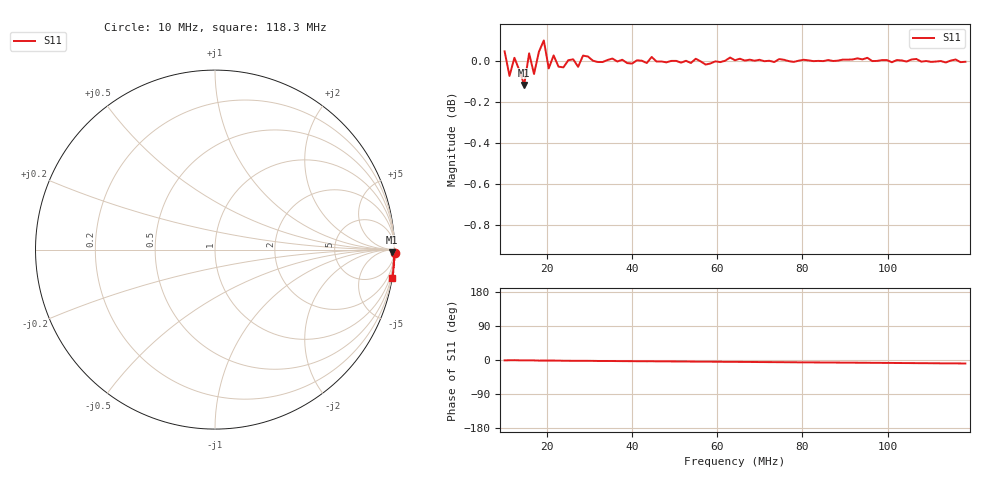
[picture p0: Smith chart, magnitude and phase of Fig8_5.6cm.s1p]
#  HZ  S  DB  R  50.00
! Rohde & Schwarz ZVB20 4Ports - Version 3.90 - 1145.1010k22 SN: 100142
! Date: 2023-02-16 15:49:24
! Measurement: S11
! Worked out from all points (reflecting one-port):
!   95 points, 10 MHz to 118.3 MHz, reference 50 ohm
!   lowest |S11| = -0.1 dB at 14.61 MHz (marker M1), VSWR 147.07, Z = 3e+03 - j3.61e+03 ohm
!   phase of S11 starts at -1 deg and turns -8 deg over the sweep
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1e7  0.04 -1.0
1.115214e7  -0.07 -0.6
1.230429e7  0.01 -0.6
1.345643e7  -0.05 -0.9
1.460858e7  -0.12 -0.9
1.576072e7  0.04 -1.0
1.691287e7  -0.07 -1.1
1.806501e7  0.04 -1.6
1.921716e7  0.10 -1.5
2.03693e7  -0.04 -1.5
2.152145e7  0.02 -1.5
2.267359e7  -0.03 -1.7
2.382574e7  -0.03 -2.0
2.613003e7  0.01 -2.2
2.728217e7  -0.03 -2.2
2.843431e7  0.02 -2.2
3.07386e7  -0.00 -2.3
3.189075e7  -0.01 -2.6
3.765147e7  0.00 -2.9
4.341219e7  -0.01 -3.3
4.456434e7  0.02 -3.3
4.571648e7  -0.00 -3.6
5.147721e7  -0.01 -3.9
6.530294e7  0.01 -5.0
7.797653e7  -0.01 -6.0
9.180227e7  0.01 -7.1
1.05628e8  0.01 -8.2
1.183016e8  -0.01 -9.2
